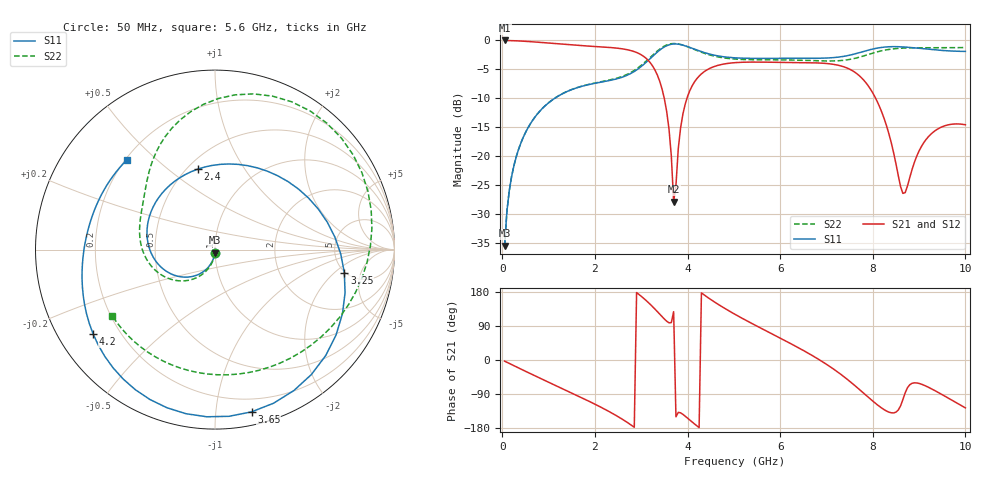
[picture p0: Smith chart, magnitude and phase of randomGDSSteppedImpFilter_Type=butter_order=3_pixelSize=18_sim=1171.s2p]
! freq	dB(S11)	phase(S11)	dB(S12)	phase(S12)
!  dB(S21)	phase(S21)	dB(S22)	phase(S22)
!S-par simulation data
#  GHz  S  DB  R 50
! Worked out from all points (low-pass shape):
!   200 points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, 50 MHz to 10 GHz, reference 50 ohm
!   highest |S21| = -0.01 dB at 50 MHz (marker M1); lowest = -27.8 dB at 3.7 GHz (marker M2)
!   |S21| within 3 dB of the highest: start of sweep to 3.092 GHz
!   lowest |S11| = -35.4 dB at 50 MHz (marker M3), VSWR 1.03, Z = 49.9 - j1.69 ohm
!   |S11| at or under -10 dB: start of sweep to 1.129 GHz
!   |S22| runs from -35.5 to -0.5 dB; largest |S21 - S12| = 0
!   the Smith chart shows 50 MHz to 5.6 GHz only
!   S11 on the Smith chart (normalised r, x): 50 MHz: 1.00, -0.03; 2.4 GHz: 0.56, +0.64; 3.25 GHz: 4.91, -2.71; 3.65 GHz: 0.10, -1.25; 4.2 GHz: 0.10, -0.31; 5.6 GHz: 0.21, +0.41
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0.05  -35.43 -93.0  -0.01 -3.0  -0.01 -3.0  -35.50 -92.6
0.2  -23.53 -103.0  -0.04 -12.0  -0.04 -12.0  -23.50 -101.5
0.5  -15.91 -122.3  -0.15 -29.7  -0.15 -29.7  -15.91 -118.1
1.75  -7.85 156.4  -0.92 -101.6  -0.92 -101.6  -7.82 179.1
2.4  -6.77 102.1  -1.27 -142.4  -1.27 -142.4  -6.67 151.7
2.9  -5.10 42.9  -2.08 177.9  -2.08 177.9  -4.90 130.2
3.25  -2.71 -10.1  -4.46 140.2  -4.46 140.2  -2.52 105.0
3.4  -1.66 -35.2  -7.07 121.0  -7.07 121.0  -1.50 88.8
3.65  -0.66 -77.3  -19.93 98.7  -19.93 98.7  -0.57 55.6
3.7  -0.61 -85.2  -27.83 127.5  -27.83 127.5  -0.53 48.5
3.9  -0.82 -113.5  -12.70 -143.4  -12.70 -143.4  -0.80 20.8
4.2  -1.66 -145.1  -6.61 -173.6  -6.61 -173.6  -1.74 -16.9
5.05  -3.02 161.7  -3.82 118.8  -3.82 118.8  -3.23 -102.4
5.6  -3.09 134.3  -3.74 83.0  -3.74 83.0  -3.34 -147.2
6.7  -3.08 78.4  -3.86 11.3  -3.86 11.3  -3.48 124.8
7.25  -2.89 49.4  -4.28 -32.4  -4.28 -32.4  -3.51 64.2
7.7  -2.14 22.8  -6.03 -76.6  -6.03 -76.6  -2.91 -3.1
8.05  -1.40 -3.5  -9.79 -113.5  -9.79 -113.5  -2.07 -60.3
8.35  -1.09 -29.4  -16.16 -137.6  -16.16 -137.6  -1.55 -103.7
8.65  -1.12 -56.6  -26.39 -104.5  -26.39 -104.5  -1.33 -139.2
9.1  -1.44 -98.2  -17.66 -66.2  -17.66 -66.2  -1.27 179.9
10  -1.89 174.2  -14.55 -126.4  -14.55 -126.4  -1.23 120.4
